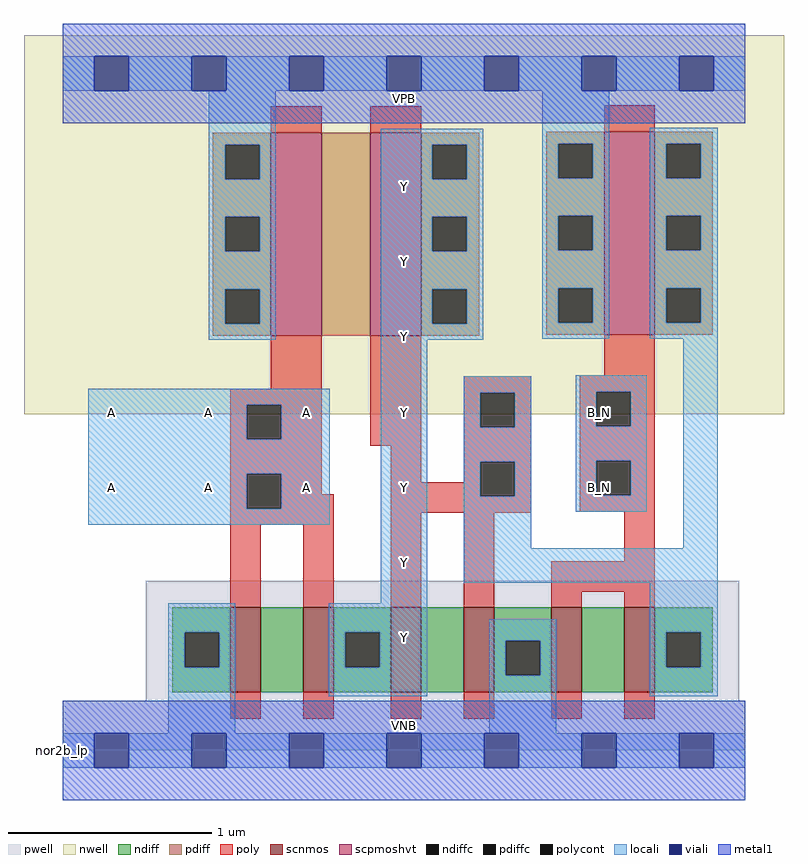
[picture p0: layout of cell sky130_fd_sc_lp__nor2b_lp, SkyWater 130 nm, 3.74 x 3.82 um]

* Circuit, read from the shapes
.subckt sky130_fd_sc_lp__nor2b_lp A B_N VGND VNB VPB VPWR Y
XM1 n1 A VGND VNB sky130_fd_pr__nfet_01v8 w=0.42 l=0.15
XM2 Y A n1 VNB sky130_fd_pr__nfet_01v8 w=0.42 l=0.15
XM3 n2 n3 Y VNB sky130_fd_pr__nfet_01v8 w=0.42 l=0.15
XM4 VGND n3 n2 VNB sky130_fd_pr__nfet_01v8 w=0.42 l=0.15
XM5 n4 B_N VGND VNB sky130_fd_pr__nfet_01v8 w=0.42 l=0.15
XM6 n3 B_N n4 VNB sky130_fd_pr__nfet_01v8 w=0.42 l=0.15
XM7 n5 A VPWR VPB sky130_fd_pr__pfet_01v8_hvt w=1 l=0.25
XM8 Y n3 n5 VPB sky130_fd_pr__pfet_01v8_hvt w=1 l=0.25
XM9 n3 B_N VPWR VPB sky130_fd_pr__pfet_01v8_hvt w=1 l=0.25
.ends

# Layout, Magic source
magic
tech sky130A
magscale 1 2
<< nwell >>
rect -38 331 710 704
<< pwell >>
rect 82 49 666 167
rect 0 0 672 49
<< scnmos >>
rect 165 57 195 141
rect 237 57 267 141
rect 323 57 353 141
rect 395 57 425 141
rect 481 57 511 141
rect 553 57 583 141
<< scpmoshvt >>
rect 205 408 255 608
rect 303 408 353 608
rect 533 409 583 609
<< ndiff >>
rect 108 116 165 141
rect 108 82 120 116
rect 154 82 165 116
rect 108 57 165 82
rect 195 57 237 141
rect 267 116 323 141
rect 267 82 278 116
rect 312 82 323 116
rect 267 57 323 82
rect 353 57 395 141
rect 425 108 481 141
rect 425 74 436 108
rect 470 74 481 108
rect 425 57 481 74
rect 511 57 553 141
rect 583 116 640 141
rect 583 82 594 116
rect 628 82 640 116
rect 583 57 640 82
<< pdiff >>
rect 148 596 205 608
rect 148 562 160 596
rect 194 562 205 596
rect 148 525 205 562
rect 148 491 160 525
rect 194 491 205 525
rect 148 454 205 491
rect 148 420 160 454
rect 194 420 205 454
rect 148 408 205 420
rect 255 408 303 608
rect 353 596 410 608
rect 353 562 364 596
rect 398 562 410 596
rect 353 525 410 562
rect 353 491 364 525
rect 398 491 410 525
rect 353 454 410 491
rect 353 420 364 454
rect 398 420 410 454
rect 353 408 410 420
rect 476 597 533 609
rect 476 563 488 597
rect 522 563 533 597
rect 476 526 533 563
rect 476 492 488 526
rect 522 492 533 526
rect 476 455 533 492
rect 476 421 488 455
rect 522 421 533 455
rect 476 409 533 421
rect 583 597 640 609
rect 583 563 594 597
rect 628 563 640 597
rect 583 526 640 563
rect 583 492 594 526
rect 628 492 640 526
rect 583 455 640 492
rect 583 421 594 455
rect 628 421 640 455
rect 583 409 640 421
<< ndiffc >>
rect 120 82 154 116
rect 278 82 312 116
rect 436 74 470 108
rect 594 82 628 116
<< pdiffc >>
rect 160 562 194 596
rect 160 491 194 525
rect 160 420 194 454
rect 364 562 398 596
rect 364 491 398 525
rect 364 420 398 454
rect 488 563 522 597
rect 488 492 522 526
rect 488 421 522 455
rect 594 563 628 597
rect 594 492 628 526
rect 594 421 628 455
<< poly >>
rect 205 608 255 634
rect 303 608 353 634
rect 533 609 583 635
rect 205 356 255 408
rect 165 340 255 356
rect 165 306 181 340
rect 215 306 255 340
rect 165 272 255 306
rect 303 300 353 408
rect 533 369 583 409
rect 165 238 181 272
rect 215 252 255 272
rect 323 264 353 300
rect 395 352 461 368
rect 395 318 411 352
rect 445 318 461 352
rect 395 284 461 318
rect 395 264 411 284
rect 215 238 267 252
rect 165 222 267 238
rect 165 141 195 222
rect 237 141 267 222
rect 323 250 411 264
rect 445 250 461 284
rect 323 234 461 250
rect 509 353 583 369
rect 509 319 525 353
rect 559 319 583 353
rect 509 285 583 319
rect 509 251 525 285
rect 559 251 583 285
rect 509 235 583 251
rect 323 141 353 234
rect 395 141 425 234
rect 553 186 583 235
rect 481 156 583 186
rect 481 141 511 156
rect 553 141 583 156
rect 165 31 195 57
rect 237 31 267 57
rect 323 31 353 57
rect 395 31 425 57
rect 481 31 511 57
rect 553 31 583 57
<< polycont >>
rect 181 306 215 340
rect 181 238 215 272
rect 411 318 445 352
rect 411 250 445 284
rect 525 319 559 353
rect 525 251 559 285
<< locali >>
rect 0 649 31 683
rect 65 649 127 683
rect 161 649 223 683
rect 257 649 319 683
rect 353 649 415 683
rect 449 649 511 683
rect 545 649 607 683
rect 641 649 672 683
rect 144 596 210 649
rect 144 562 160 596
rect 194 562 210 596
rect 144 525 210 562
rect 144 491 160 525
rect 194 491 210 525
rect 144 454 210 491
rect 144 420 160 454
rect 194 420 210 454
rect 144 404 210 420
rect 313 596 414 612
rect 313 562 364 596
rect 398 562 414 596
rect 313 525 414 562
rect 313 491 364 525
rect 398 491 414 525
rect 313 454 414 491
rect 313 420 364 454
rect 398 420 414 454
rect 313 404 414 420
rect 472 597 538 649
rect 472 563 488 597
rect 522 563 538 597
rect 472 526 538 563
rect 472 492 488 526
rect 522 492 538 526
rect 472 455 538 492
rect 472 421 488 455
rect 522 421 538 455
rect 472 405 538 421
rect 578 597 645 613
rect 578 563 594 597
rect 628 563 645 597
rect 578 526 645 563
rect 578 492 594 526
rect 628 492 645 526
rect 578 455 645 492
rect 578 421 594 455
rect 628 421 645 455
rect 578 405 645 421
rect 25 340 263 356
rect 25 306 181 340
rect 215 306 263 340
rect 25 272 263 306
rect 25 238 181 272
rect 215 238 263 272
rect 25 222 263 238
rect 313 145 359 404
rect 395 352 461 368
rect 395 318 411 352
rect 445 318 461 352
rect 395 284 461 318
rect 395 250 411 284
rect 445 250 461 284
rect 395 199 461 250
rect 505 353 575 369
rect 505 319 525 353
rect 559 319 575 353
rect 505 285 575 319
rect 505 251 525 285
rect 559 251 575 285
rect 505 235 575 251
rect 611 199 645 405
rect 395 165 645 199
rect 104 116 170 145
rect 104 82 120 116
rect 154 82 170 116
rect 104 17 170 82
rect 262 116 359 145
rect 262 82 278 116
rect 312 82 359 116
rect 262 53 359 82
rect 420 108 486 129
rect 420 74 436 108
rect 470 74 486 108
rect 420 17 486 74
rect 578 116 645 165
rect 578 82 594 116
rect 628 82 645 116
rect 578 53 645 82
rect 0 -17 31 17
rect 65 -17 127 17
rect 161 -17 223 17
rect 257 -17 319 17
rect 353 -17 415 17
rect 449 -17 511 17
rect 545 -17 607 17
rect 641 -17 672 17
<< viali >>
rect 31 649 65 683
rect 127 649 161 683
rect 223 649 257 683
rect 319 649 353 683
rect 415 649 449 683
rect 511 649 545 683
rect 607 649 641 683
rect 31 -17 65 17
rect 127 -17 161 17
rect 223 -17 257 17
rect 319 -17 353 17
rect 415 -17 449 17
rect 511 -17 545 17
rect 607 -17 641 17
<< metal1 >>
rect 0 683 672 715
rect 0 649 31 683
rect 65 649 127 683
rect 161 649 223 683
rect 257 649 319 683
rect 353 649 415 683
rect 449 649 511 683
rect 545 649 607 683
rect 641 649 672 683
rect 0 617 672 649
rect 0 17 672 49
rect 0 -17 31 17
rect 65 -17 127 17
rect 161 -17 223 17
rect 257 -17 319 17
rect 353 -17 415 17
rect 449 -17 511 17
rect 545 -17 607 17
rect 641 -17 672 17
rect 0 -49 672 -17
<< labels >>
flabel pwell s 0 0 672 49 0 FreeSans 200 0 0 0 VNB
port 4 nsew ground bidirectional
flabel nwell s 0 617 672 666 0 FreeSans 200 0 0 0 VPB
port 5 nsew power bidirectional
rlabel comment s 0 0 0 0 4 nor2b_lp
flabel metal1 s 0 617 672 666 0 FreeSans 340 0 0 0 VPWR
port 6 nsew power bidirectional
flabel metal1 s 0 0 672 49 0 FreeSans 340 0 0 0 VGND
port 3 nsew ground bidirectional
flabel locali s 511 242 545 276 0 FreeSans 340 0 0 0 B_N
port 2 nsew signal input
flabel locali s 511 316 545 350 0 FreeSans 340 0 0 0 B_N
port 2 nsew signal input
flabel locali s 31 242 65 276 0 FreeSans 340 0 0 0 A
port 1 nsew signal input
flabel locali s 31 316 65 350 0 FreeSans 340 0 0 0 A
port 1 nsew signal input
flabel locali s 127 242 161 276 0 FreeSans 340 0 0 0 A
port 1 nsew signal input
flabel locali s 127 316 161 350 0 FreeSans 340 0 0 0 A
port 1 nsew signal input
flabel locali s 223 242 257 276 0 FreeSans 340 0 0 0 A
port 1 nsew signal input
flabel locali s 223 316 257 350 0 FreeSans 340 0 0 0 A
port 1 nsew signal input
flabel locali s 319 94 353 128 0 FreeSans 340 0 0 0 Y
port 7 nsew signal output
flabel locali s 319 168 353 202 0 FreeSans 340 0 0 0 Y
port 7 nsew signal output
flabel locali s 319 242 353 276 0 FreeSans 340 0 0 0 Y
port 7 nsew signal output
flabel locali s 319 316 353 350 0 FreeSans 340 0 0 0 Y
port 7 nsew signal output
flabel locali s 319 390 353 424 0 FreeSans 340 0 0 0 Y
port 7 nsew signal output
flabel locali s 319 464 353 498 0 FreeSans 340 0 0 0 Y
port 7 nsew signal output
flabel locali s 319 538 353 572 0 FreeSans 340 0 0 0 Y
port 7 nsew signal output
<< properties >>
string LEFsite unit
string LEFclass CORE
string FIXED_BBOX 0 0 672 666
string GDS_FILE $PDKPATH/libs.ref/sky130_fd_sc_lp/gds/sky130_fd_sc_lp.gds
string LEFsymmetry X Y R90
string GDS_END 5271998
string GDS_START 5265098
<< end >>
